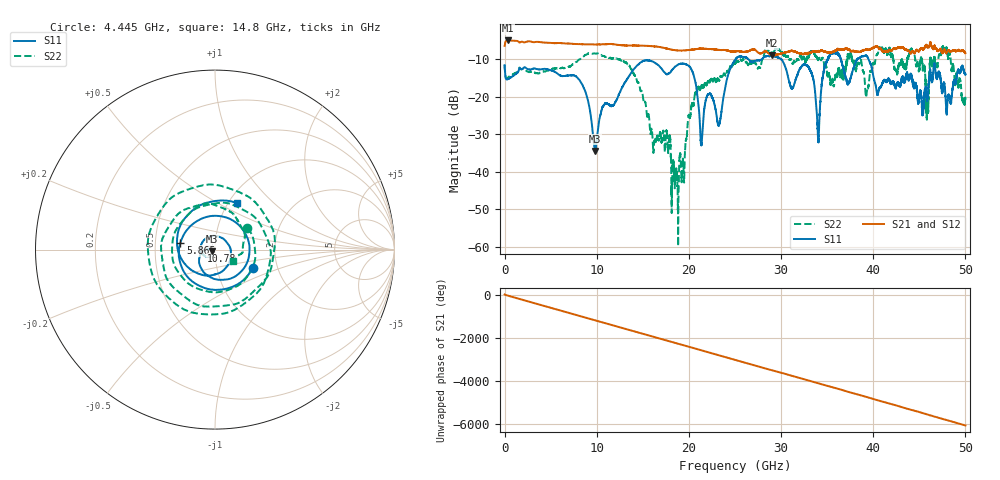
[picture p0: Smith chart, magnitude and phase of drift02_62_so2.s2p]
!Created with skrf (http://scikit-rf.org).
# Hz S RI R 50.0
!freq ReS11 ImS11 ReS21 ImS21 ReS12 ImS12 ReS22 ImS22
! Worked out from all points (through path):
!   10001 points, 300 kHz to 50 GHz, reference 50 ohm
!   highest |S21| = -5.04 dB at 325.3 MHz (marker M1); lowest = -9.0 dB at 29.01 GHz (marker M2)
!   group delay of S21, straight-line fit = 336 ps
!   lowest |S11| = -34.5 dB at 9.825 GHz (marker M3), VSWR 1.04, Z = 48.4 - j0.929 ohm
!   |S11| at or under -10 dB: start of sweep to 25.07 GHz; 29.96 GHz to 35.06 GHz (5.092 GHz wide, 15.7 % of centre); 39.48 GHz to end of sweep (the widest 3 of 5)
!   |S22| runs from -59.8 to -6.5 dB; largest |S21 - S12| = 0.023
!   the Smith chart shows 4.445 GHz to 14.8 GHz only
!   S11 on the Smith chart (normalised r, x): 4.445 GHz: 1.49, -0.32; 5.865 GHz: 0.67, +0.05; 10.78 GHz: 0.86, -0.01; 14.8 GHz: 1.10, +0.62
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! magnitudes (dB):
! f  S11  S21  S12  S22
! 300 kHz  -11.7  -6.5  -6.4  -11.5
! 325.3 MHz  -15.4  -5.0  -5.0  -15.0
! 4.445 GHz  -12.6  -5.6  -5.6  -13.3
! 5.865 GHz  -14.1  -5.7  -5.7  -12.5
! 8.335 GHz  -16.4  -6.0  -6.0  -9.6
! 9.825 GHz  -34.5  -6.1  -6.1  -8.5
! 10.78 GHz  -22.2  -6.1  -6.1  -9.2
! 14.8 GHz  -10.9  -6.4  -6.4  -18.5
! 16.67 GHz  -11.6  -6.7  -6.7  -31.2
! 18.67 GHz  -11.8  -7.7  -7.7  -40.4
! 20.38 GHz  -13.3  -7.5  -7.5  -21.7
! 21.37 GHz  -32.3  -7.2  -7.2  -16.9
! 23.31 GHz  -27.3  -7.6  -7.6  -15.6
! 25 GHz  -10.3  -8.0  -7.9  -11.2
! 29.01 GHz  -9.1  -9.0  -9.0  -8.2
! 33.34 GHz  -14.0  -8.1  -8.1  -8.1
! 34.02 GHz  -32.0  -7.9  -7.9  -10.3
! 35.54 GHz  -8.4  -8.1  -8.1  -15.3
! 41.67 GHz  -15.3  -7.7  -7.8  -7.3
! 45.87 GHz  -20.2  -6.9  -6.9  -24.5
! 47.76 GHz  -17.2  -7.5  -7.5  -7.4
! 50 GHz  -14.1  -8.4  -8.4  -20.5
